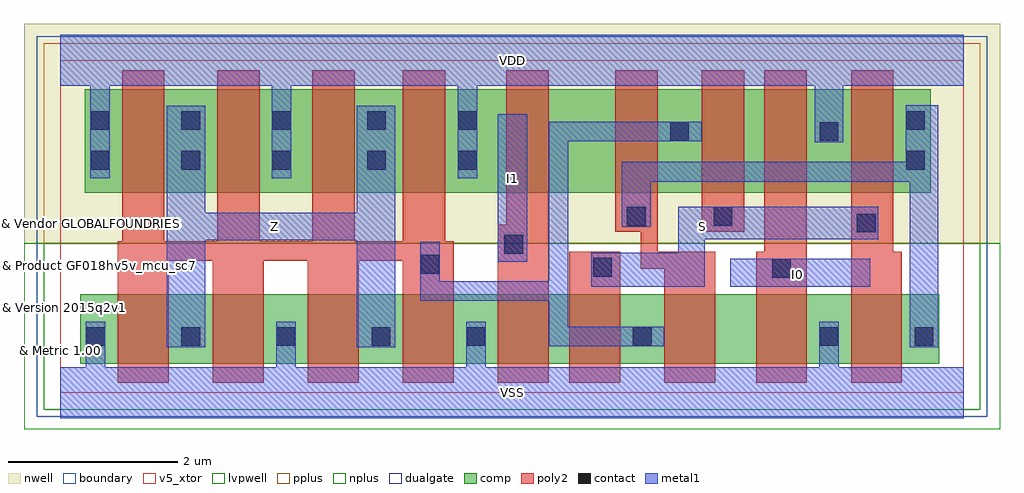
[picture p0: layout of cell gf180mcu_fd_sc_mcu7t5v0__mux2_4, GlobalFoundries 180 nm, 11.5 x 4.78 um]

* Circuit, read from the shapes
.subckt gf180mcu_fd_sc_mcu7t5v0__mux2_4 I0 I1 S VDD VSS Z
XM1 Z n1 VSS VSUBS nfet_05v0 w=0.82u l=0.6u m=4
XM2 n2 I1 VSS VSUBS nfet_05v0 w=0.82u l=0.6u
XM3 n1 S n2 VSUBS nfet_05v0 w=0.82u l=0.6u
XM4 n3 n4 n1 VSUBS nfet_05v0 w=0.82u l=0.6u
XM5 VSS I0 n3 VSUBS nfet_05v0 w=0.82u l=0.6u
XM6 n4 S VSS VSUBS nfet_05v0 w=0.82u l=0.6u
XM7 Z n1 VDD n5 pfet_05v0 w=1.22u l=0.5u m=4
XM8 n6 I1 VDD n5 pfet_05v0 w=1.22u l=0.5u
XM9 n1 n4 n6 n5 pfet_05v0 w=1.22u l=0.5u
XM10 n7 S n1 n5 pfet_05v0 w=1.22u l=0.5u
XM11 VDD I0 n7 n5 pfet_05v0 w=1.22u l=0.5u
XM12 n4 S VDD n5 pfet_05v0 w=1.22u l=0.5u
.ends

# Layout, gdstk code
import gdstk
lib = gdstk.Library(unit=1e-6, precision=1e-09)
def R(c, l, rs):  # rectangles x0, y0, x1, y1
    for r in rs: c.add(gdstk.rectangle(r[:2], r[2:], *l))
def A(c, l, x, y, w, h, nx, ny, dx, dy):  # array of equal rectangles
    R(c, l, [(x+i*dx, y+j*dy, x+i*dx+w, y+j*dy+h) for i in range(nx) for j in range(ny)])
def P(c, l, *ps):  # polygons
    for p in ps: c.add(gdstk.Polygon(p, *l))
boundary = (0, 0)
nwell = (21, 0)
comp = (22, 0)
poly2 = (30, 0)
pplus = (31, 0)
nplus = (32, 0)
contact = (33, 0)
metal1 = (34, 0)
dualgate = (55, 0)
v5_xtor = (112, 1)
lvpwell = (204, 0)

gf180mcu_fd_sc_mcu7t5v0_ = lib.new_cell('gf180mcu_fd_sc_mcu7t5v0__mux2_4')
R(gf180mcu_fd_sc_mcu7t5v0_, boundary, [(0,0,10.64,3.92)])
R(gf180mcu_fd_sc_mcu7t5v0_, nwell, [(-0.43,1.76,11.07,4.35)])
R(gf180mcu_fd_sc_mcu7t5v0_, comp, [(0.235,0.34,10.355,1.16), (0.285,2.36,10.255,3.58)])
R(gf180mcu_fd_sc_mcu7t5v0_, poly2, [(5.995,0.12,6.595,1.66), (7.555,1.9,8.055,3.8)])
P(gf180mcu_fd_sc_mcu7t5v0_, poly2, [(0.675,0.12),(0.675,1.785),(0.725,1.785),(0.725,3.8),(1.225,3.8),(1.225,1.785),(1.845,1.785),(1.845,3.8),(2.345,3.8),(2.345,1.785),(2.965,1.785),(2.965,3.8),(3.465,3.8),(3.465,1.785),(4.035,1.785),(4.035,3.8),(4.535,3.8),(4.535,1.785),(4.635,1.785),(4.635,0.12),(4.035,0.12),(4.035,1.555),(3.515,1.555),(3.515,0.12),(2.915,0.12),(2.915,1.555),(2.395,1.555),(2.395,0.12),(1.795,0.12),(1.795,1.555),(1.275,1.555),(1.275,0.12)],
  [(5.155,0.12),(5.155,1.98),(5.255,1.98),(5.255,3.8),(5.755,3.8),(5.755,0.12)],
  [(7.115,0.12),(7.115,1.46),(6.835,1.46),(6.835,1.9),(6.535,1.9),(6.535,3.8),(7.035,3.8),(7.035,1.66),(7.715,1.66),(7.715,0.12)],
  [(8.195,0.12),(8.195,1.66),(8.295,1.66),(8.295,3.8),(8.795,3.8),(8.795,0.12)],
  [(9.315,0.12),(9.315,3.8),(9.815,3.8),(9.815,1.66),(9.915,1.66),(9.915,0.12)])
R(gf180mcu_fd_sc_mcu7t5v0_, pplus, [(-0.2,1.76,10.84,4.12)])
R(gf180mcu_fd_sc_mcu7t5v0_, nplus, [(-0.2,-0.2,10.84,1.76)])
A(gf180mcu_fd_sc_mcu7t5v0_, contact, 0.305, 0.555, 0.22, 0.22, 5, 1, 1.12, 0)
A(gf180mcu_fd_sc_mcu7t5v0_, contact, 0.355, 2.63, 0.22, 0.22, 3, 2, 1.07, 0.47)
R(gf180mcu_fd_sc_mcu7t5v0_, contact, [(6.745,0.555,6.965,0.775), (8.945,0.555,9.165,0.775), (10.065,0.555,10.285,0.775), (8.385,1.355,8.605,1.575), (6.275,1.37,6.495,1.59), (4.245,1.405,4.465,1.625), (5.23,1.64,5.45,1.86), (9.385,1.89,9.605,2.11), (6.675,1.97,6.895,2.19), (7.695,1.97,7.915,2.19), (3.615,2.63,3.835,2.85), (4.685,2.63,4.905,2.85), (9.965,2.63,10.185,2.85), (7.185,2.97,7.405,3.19), (8.945,2.97,9.165,3.19), (3.615,3.1,3.835,3.32), (4.685,3.1,4.905,3.32), (9.965,3.1,10.185,3.32)])
R(gf180mcu_fd_sc_mcu7t5v0_, metal1, [(7.89,1.25,9.54,1.58), (5.15,1.545,5.5,3.285)])
P(gf180mcu_fd_sc_mcu7t5v0_, metal1, [(1.25,0.54),(1.25,3.38),(1.705,3.38),(1.705,2.12),(3.49,2.12),(3.49,3.38),(3.945,3.38),(3.945,0.54),(3.49,0.54),(3.49,1.8),(1.705,1.8),(1.705,0.54)],
  [(5.755,0.55),(5.755,1.085),(4.24,1.085),(4.24,1.78),(4.47,1.78),(4.47,1.315),(5.755,1.315),(5.755,3.195),(7.555,3.195),(7.555,2.965),(5.985,2.965),(5.985,0.78),(7.115,0.78),(7.115,0.55)],
  [(6.255,1.25),(6.255,1.65),(7.28,1.65),(7.28,2.195),(9.635,2.195),(9.635,1.81),(7.59,1.81),(7.59,1.25)],
  [(10.005,0.54),(10.005,2.49),(6.955,2.49),(6.955,1.96),(6.615,1.96),(6.615,2.725),(9.96,2.725),(9.96,3.39),(10.345,3.39),(10.345,0.54)],
  [(0,-0.3),(0,0.3),(0.3,0.3),(0.3,0.835),(0.53,0.835),(0.53,0.3),(2.54,0.3),(2.54,0.835),(2.77,0.835),(2.77,0.3),(4.78,0.3),(4.78,0.835),(5.01,0.835),(5.01,0.3),(8.94,0.3),(8.94,0.835),(9.17,0.835),(9.17,0.3),(10.64,0.3),(10.64,-0.3)],
  [(0.35,2.53),(0.35,3.62),(0,3.62),(0,4.22),(10.64,4.22),(10.64,3.62),(9.225,3.62),(9.225,2.955),(8.885,2.955),(8.885,3.62),(4.91,3.62),(4.91,2.53),(4.68,2.53),(4.68,3.62),(2.72,3.62),(2.72,2.53),(2.49,2.53),(2.49,3.62),(0.58,3.62),(0.58,2.53)])
R(gf180mcu_fd_sc_mcu7t5v0_, dualgate, [(-0.28,-0.28,10.92,4.2)])
R(gf180mcu_fd_sc_mcu7t5v0_, v5_xtor, [(0,0,10.64,3.92)])
R(gf180mcu_fd_sc_mcu7t5v0_, lvpwell, [(-0.43,-0.43,11.07,1.76)])
gf180mcu_fd_sc_mcu7t5v0_.add(gdstk.Label('S', (7.56,1.96), layer=34, texttype=10))
gf180mcu_fd_sc_mcu7t5v0_.add(gdstk.Label('VDD', (5.32,3.92), layer=34, texttype=10))
gf180mcu_fd_sc_mcu7t5v0_.add(gdstk.Label('VSS', (5.32,0), layer=34, texttype=10))
gf180mcu_fd_sc_mcu7t5v0_.add(gdstk.Label('Z', (2.52,1.96), layer=34, texttype=10))
gf180mcu_fd_sc_mcu7t5v0_.add(gdstk.Label('I0', (8.68,1.4), layer=34, texttype=10))
gf180mcu_fd_sc_mcu7t5v0_.add(gdstk.Label('I1', (5.32,2.52), layer=34, texttype=10))
gf180mcu_fd_sc_mcu7t5v0_.add(gdstk.Label('& Vendor GLOBALFOUNDRIES', (0,2), layer=63, texttype=63))
gf180mcu_fd_sc_mcu7t5v0_.add(gdstk.Label('& Product GF018hv5v_mcu_sc7', (0,1.5), layer=63, texttype=63))
gf180mcu_fd_sc_mcu7t5v0_.add(gdstk.Label('& Version 2015q2v1', (0,1), layer=63, texttype=63))
gf180mcu_fd_sc_mcu7t5v0_.add(gdstk.Label('& Metric 1.00', (0,0.5), layer=63, texttype=63))

lib.write_gds('gf180mcu_fd_sc_mcu7t5v0__mux2_4.gds')
